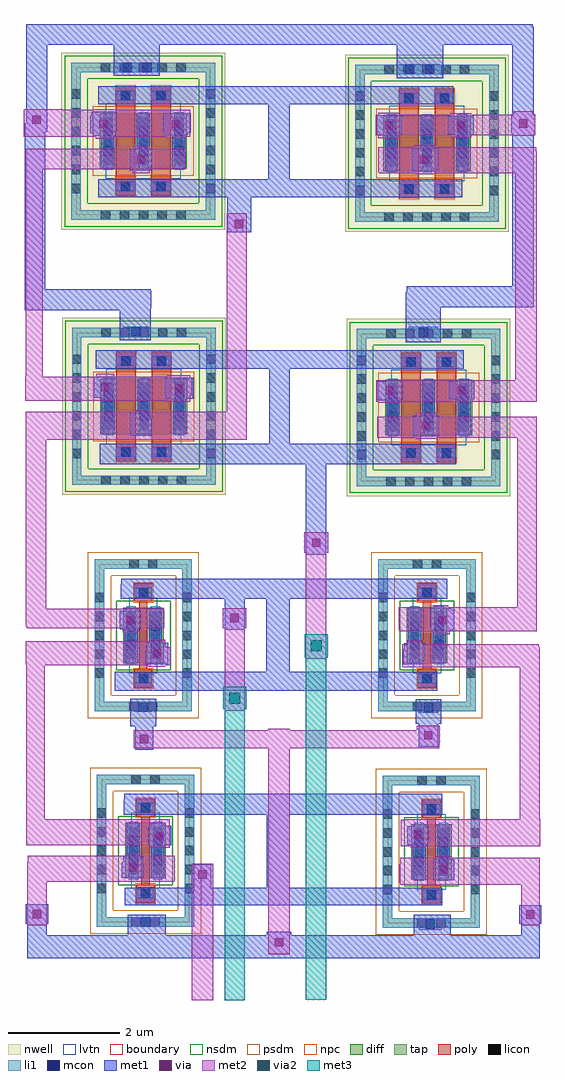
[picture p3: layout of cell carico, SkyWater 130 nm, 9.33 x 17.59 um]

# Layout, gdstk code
from math import pi, radians
import gdstk
lib = gdstk.Library(unit=1e-6, precision=1e-09)
def R(c, l, rs):  # rectangles x0, y0, x1, y1
    for r in rs: c.add(gdstk.rectangle(r[:2], r[2:], *l))
def A(c, l, x, y, w, h, nx, ny, dx, dy):  # array of equal rectangles
    R(c, l, [(x+i*dx, y+j*dy, x+i*dx+w, y+j*dy+h) for i in range(nx) for j in range(ny)])
nwell = (64, 20)
diff = (65, 20)
tap = (65, 44)
poly = (66, 20)
licon = (66, 44)
li1 = (67, 20)
mcon = (67, 44)
met1 = (68, 20)
via = (68, 44)
met2 = (69, 20)
via2 = (69, 44)
met3 = (70, 20)
nsdm = (93, 44)
psdm = (94, 20)
npc = (95, 20)
lvtn = (125, 44)
boundary = (235, 4)

sky130_fd_pr__nfet_01v8_ = lib.new_cell('sky130_fd_pr__nfet_01v8_lvt_648S5X')
R(sky130_fd_pr__nfet_01v8_, diff, [(-0.365,-0.5,0.365,0.5)])
R(sky130_fd_pr__nfet_01v8_, tap, [(-0.875,-1.37,0.875,-1.2), (-0.875,-1.2,-0.705,1.2), (0.705,-1.2,0.875,1.2), (-0.875,1.2,0.875,1.37)])
R(sky130_fd_pr__nfet_01v8_, poly, [(-0.165,-0.94,0.165,-0.61), (-0.075,-0.61,0.075,0.61), (-0.165,0.61,0.165,0.94)])
A(sky130_fd_pr__nfet_01v8_, licon, -0.875, -0.765, 0.17, 0.17, 1, 5, 0, 0.34)
A(sky130_fd_pr__nfet_01v8_, licon, 0.705, -0.765, 0.17, 0.17, 1, 5, 0, 0.34)
A(sky130_fd_pr__nfet_01v8_, licon, -0.305, -0.425, 0.17, 0.17, 1, 3, 0, 0.34)
A(sky130_fd_pr__nfet_01v8_, licon, 0.135, -0.425, 0.17, 0.17, 1, 3, 0, 0.34)
R(sky130_fd_pr__nfet_01v8_, licon, [(-0.255,-1.37,-0.085,-1.2), (0.085,-1.37,0.255,-1.2), (-0.085,-0.86,0.085,-0.69), (-0.085,0.69,0.085,0.86), (-0.255,1.2,-0.085,1.37), (0.085,1.2,0.255,1.37)])
R(sky130_fd_pr__nfet_01v8_, li1, [(-0.875,-1.37,0.875,-1.2), (-0.875,-1.2,-0.705,1.2), (0.705,-1.2,0.875,1.2), (-0.165,-0.86,0.165,-0.69), (-0.305,-0.52,-0.135,0.52), (0.135,-0.52,0.305,0.52), (-0.165,0.69,0.165,0.86), (-0.875,1.2,0.875,1.37)])
R(sky130_fd_pr__nfet_01v8_, mcon, [(-0.085,-0.86,0.085,-0.69), (-0.305,-0.265,-0.135,-0.095), (0.135,-0.265,0.305,-0.095), (-0.305,0.095,-0.135,0.265), (0.135,0.095,0.305,0.265), (-0.085,0.69,0.085,0.86)])
R(sky130_fd_pr__nfet_01v8_, met1, [(-0.145,-0.89,0.145,-0.66), (-0.335,-0.5,-0.105,0.5), (0.105,-0.5,0.335,0.5), (-0.145,0.66,0.145,0.89)])
R(sky130_fd_pr__nfet_01v8_, nsdm, [(-0.49,-0.625,0.49,0.625)])
R(sky130_fd_pr__nfet_01v8_, psdm, [(-1,-1.495,1,-1.075), (-1,-1.075,-0.58,1.075), (0.58,-1.075,1,1.075), (-1,1.075,1,1.495)])
R(sky130_fd_pr__nfet_01v8_, npc, [(-0.185,-0.96,0.185,-0.59), (-0.185,0.59,0.185,0.96)])
R(sky130_fd_pr__nfet_01v8_, lvtn, [(-0.255,-0.68,0.255,0.68)])
R(sky130_fd_pr__nfet_01v8_, boundary, [(-0.79,-1.285,0.79,1.285)])

sky130_fd_pr__pfet_01v8_ = lib.new_cell('sky130_fd_pr__pfet_01v8_lvt_4Q3NH3')
R(sky130_fd_pr__pfet_01v8_, nwell, [(-1.475,-1.595,1.475,1.595)])
R(sky130_fd_pr__pfet_01v8_, diff, [(-0.785,-0.5,0.785,0.5)])
R(sky130_fd_pr__pfet_01v8_, tap, [(-1.295,-1.415,1.295,-1.245), (-1.295,-1.245,-1.125,1.245), (1.125,-1.245,1.295,1.245), (-1.295,1.245,1.295,1.415)])
R(sky130_fd_pr__pfet_01v8_, poly, [(-0.495,-0.985,-0.145,0.985), (0.145,-0.985,0.495,0.985)])
A(sky130_fd_pr__pfet_01v8_, licon, -0.765, -1.415, 0.17, 0.17, 5, 2, 0.34, 2.66)
A(sky130_fd_pr__pfet_01v8_, licon, -1.295, -0.935, 0.17, 0.17, 1, 6, 0, 0.34)
A(sky130_fd_pr__pfet_01v8_, licon, 1.125, -0.935, 0.17, 0.17, 1, 6, 0, 0.34)
A(sky130_fd_pr__pfet_01v8_, licon, -0.725, -0.425, 0.17, 0.17, 3, 3, 0.64, 0.34)
R(sky130_fd_pr__pfet_01v8_, licon, [(-0.405,-0.905,-0.235,-0.735), (0.235,-0.905,0.405,-0.735), (-0.405,0.735,-0.235,0.905), (0.235,0.735,0.405,0.905)])
A(sky130_fd_pr__pfet_01v8_, li1, -0.725, -0.52, 0.17, 1.04, 3, 1, 0.64, 0)
R(sky130_fd_pr__pfet_01v8_, li1, [(-1.295,-1.415,1.295,-1.245), (-1.295,-1.245,-1.125,1.245), (1.125,-1.245,1.295,1.245), (-0.495,-0.905,-0.145,-0.735), (0.145,-0.905,0.495,-0.735), (-0.495,0.735,-0.145,0.905), (0.145,0.735,0.495,0.905), (-1.295,1.245,1.295,1.415)])
A(sky130_fd_pr__pfet_01v8_, mcon, -0.725, -0.265, 0.17, 0.17, 3, 2, 0.64, 0.36)
R(sky130_fd_pr__pfet_01v8_, mcon, [(-0.405,-0.905,-0.235,-0.735), (0.235,-0.905,0.405,-0.735), (-0.405,0.735,-0.235,0.905), (0.235,0.735,0.405,0.905)])
A(sky130_fd_pr__pfet_01v8_, met1, -0.755, -0.5, 0.23, 1, 3, 1, 0.64, 0)
R(sky130_fd_pr__pfet_01v8_, met1, [(-0.475,-0.935,-0.165,-0.705), (0.165,-0.935,0.475,-0.705), (-0.475,0.705,-0.165,0.935), (0.165,0.705,0.475,0.935)])
R(sky130_fd_pr__pfet_01v8_, nsdm, [(-1.42,-1.54,1.42,-1.12), (-1.42,-1.12,-1,1.12), (1,-1.12,1.42,1.12), (-1.42,1.12,1.42,1.54)])
R(sky130_fd_pr__pfet_01v8_, psdm, [(-0.91,-0.625,0.91,0.625)])
R(sky130_fd_pr__pfet_01v8_, npc, [(-0.505,-1.005,-0.135,-0.635), (0.135,-1.005,0.505,-0.635), (-0.505,0.635,-0.135,1.005), (0.135,0.635,0.505,1.005)])
R(sky130_fd_pr__pfet_01v8_, lvtn, [(-0.675,-0.68,0.675,0.68)])
R(sky130_fd_pr__pfet_01v8_, boundary, [(-1.21,-1.33,1.21,1.33)])

carico = lib.new_cell('carico')
R(carico, li1, [(11.57,-16.23,11.98,-16.03), (6.4,-16.18,6.89,-16.01), (11.56,-12.32,11.92,-12.14), (6.43,-12.31,6.77,-12.14), (11.39,-5.58,11.91,-5.37), (6.24,-5.55,6.71,-5.37), (11.22,-0.82,11.95,-0.64), (6.13,-0.78,6.86,-0.61)])
R(carico, mcon, [(11.69,-16.215,11.86,-16.045), (6.56,-16.18,6.73,-16.01), (11.655,-12.315,11.825,-12.145), (6.515,-12.31,6.685,-12.14), (11.565,-5.56,11.735,-5.39), (6.39,-5.545,6.56,-5.375), (11.32,-0.815,11.49,-0.645), (11.68,-0.815,11.85,-0.645), (6.23,-0.78,6.4,-0.61), (6.59,-0.78,6.76,-0.61)])
R(carico, met1, [(4.815,-16.75,13.465,-16.745), (4.515,-16.745,13.745,-16.335), (4.515,-16.335,4.865,-16.125), (6.32,-16.335,7.01,-15.96), (8.83,-16.335,9.27,-16.27), (11.48,-16.335,12.14,-15.96), (13.41,-16.335,13.745,-16.125), (4.485,-16.125,4.895,-15.775), (13.38,-16.125,13.775,-15.79), (6.27,-15.79,11.995,-15.48), (7.515,-15.48,7.825,-15.055), (8.83,-15.48,9.24,-14.16), (11.83,-15.34,12.21,-14.96), (6.22,-15.3,6.61,-15.02), (6.24,-15.02,6.6,-14.92), (6.69,-14.71,7.11,-14.37), (11.37,-14.71,11.73,-14.67), (11.36,-14.67,11.75,-14.37), (6.71,-14.37,7.1,-14.36), (6.25,-14.16,11.995,-13.89), (6.26,-13.89,11.99,-13.78), (6.46,-12.99,6.78,-12.57), (11.565,-12.935,11.915,-12.52), (6.37,-12.57,6.84,-12.07), (11.51,-12.52,11.97,-12.08), (6.09,-11.93,11.9,-11.59), (8.82,-11.59,9.24,-10.27), (6.64,-11.45,7.05,-11.15), (11.29,-11.45,11.66,-11.38), (11.29,-11.38,11.68,-11.18), (11.31,-11.18,11.68,-11.07), (6.66,-11.15,7.05,-11.06), (11.78,-10.86,12.18,-10.81), (8.07,-10.83,8.43,-10.27), (6.18,-10.82,6.56,-10.49), (11.78,-10.81,12.21,-10.78), (11.77,-10.78,12.21,-10.47), (11.77,-10.47,12.15,-10.44), (6.2,-10.27,12.085,-10), (6.21,-10,12.08,-9.91), (9.535,-9.475,9.905,-7.85), (5.82,-7.85,12.235,-7.48), (8.87,-7.48,9.24,-6.125), (11.46,-7.34,11.94,-6.97), (6.37,-7.33,6.76,-7.26), (6.36,-7.26,6.76,-7.03), (6.36,-7.03,6.73,-6.92), (10.81,-6.69,11.28,-6.35), (12.11,-6.68,12.57,-6.35), (6.99,-6.67,7.5,-6.29), (5.71,-6.65,6.13,-6.27), (5.745,-6.125,12.375,-5.79), (11.33,-5.65,11.96,-5.015), (6.18,-5.61,6.74,-5.07), (4.465,-5.07,6.74,-5.04), (4.465,-5.04,6.75,-4.72), (11.33,-5.015,13.635,-4.74), (11.355,-4.74,13.635,-4.64), (4.465,-4.72,6.735,-4.695), (4.465,-4.695,4.84,-1.855), (13.25,-4.64,13.635,-1.88), (8.12,-3.67,8.545,-3.04), (5.79,-3.04,12.355,-2.71), (8.86,-2.71,9.24,-1.36), (11.45,-2.57,11.89,-2.54), (6.36,-2.55,6.77,-2.16), (11.44,-2.54,11.93,-2.15), (5.7,-1.93,6.11,-1.88), (6.98,-1.92,7.4,-1.87), (10.79,-1.92,11.27,-1.56), (12.09,-1.91,12.56,-1.57), (5.65,-1.88,6.11,-1.84), (13.23,-1.88,13.67,-1.54), (6.96,-1.87,7.46,-1.52), (4.465,-1.855,4.87,-1.705), (5.65,-1.84,6.13,-1.57), (4.495,-1.705,4.87,-0.29), (5.68,-1.57,6.13,-1.5), (13.25,-1.54,13.635,-0.29), (5.79,-1.36,12.19,-1.04), (11.17,-0.89,12.01,-0.29), (6.07,-0.85,6.9,-0.29), (4.495,-0.29,13.635,0.035), (4.495,0.035,13.625,0.085)])
R(carico, via, [(8.975,-16.535,9.125,-16.385), (13.5,-16.035,13.65,-15.885), (4.615,-16.025,4.765,-15.875), (7.595,-15.315,7.745,-15.165), (11.945,-15.225,12.095,-15.075), (6.345,-15.185,6.495,-15.035), (6.825,-14.615,6.975,-14.465), (11.48,-14.595,11.63,-14.445), (6.545,-12.875,6.695,-12.725), (11.665,-12.805,11.815,-12.655), (6.78,-11.33,6.93,-11.18), (6.295,-10.73,6.445,-10.58), (11.915,-10.725,12.065,-10.575), (8.175,-10.695,8.325,-10.545), (9.645,-9.335,9.795,-9.185), (11.625,-7.23,11.775,-7.08), (10.97,-6.595,11.12,-6.445), (12.265,-6.59,12.415,-6.44), (7.17,-6.555,7.32,-6.405), (5.845,-6.535,5.995,-6.385), (8.255,-3.595,8.405,-3.445), (11.595,-2.435,11.745,-2.285), (6.49,-2.43,6.64,-2.28), (10.955,-1.815,11.105,-1.665), (12.25,-1.815,12.4,-1.665), (7.115,-1.795,7.265,-1.645), (5.815,-1.79,5.965,-1.64), (13.375,-1.785,13.525,-1.635), (4.605,-1.715,4.755,-1.565)])
R(carico, met2, [(7.48,-17.5,7.865,-15.045), (8.86,-16.68,9.24,-12.96), (4.515,-16.155,4.865,-15.365), (13.41,-16.155,13.745,-15.42), (11.23,-15.42,13.75,-15.39), (11.225,-15.39,13.75,-15.055), (4.515,-15.365,7.165,-15.35), (4.515,-15.35,7.17,-15.015), (11.23,-15.055,13.75,-14.94), (4.52,-15.015,7.17,-14.9), (11.88,-14.94,12.16,-14.91), (6.29,-14.9,6.55,-14.87), (6.74,-14.76,7.08,-14.71), (11.42,-14.76,11.68,-14.73), (11.24,-14.73,13.76,-14.25), (4.5,-14.71,7.08,-14.32), (4.495,-14.32,7.08,-14.24), (11.335,-14.25,13.755,-14.245), (13.39,-14.245,13.75,-11.505), (4.495,-14.24,4.825,-11.47), (6.43,-12.96,11.94,-12.905), (6.43,-12.905,11.945,-12.64), (8.86,-12.64,9.24,-12.61), (11.535,-12.64,11.945,-12.555), (8.07,-12.285,8.43,-10.8), (11.29,-11.505,13.75,-11.5), (6.69,-11.5,7,-11.47), (11.27,-11.5,13.75,-11.145), (4.495,-11.47,7.09,-11.45), (4.49,-11.45,7.09,-11.14), (9.535,-11.35,9.905,-9.445), (11.27,-11.145,13.73,-11.09), (4.49,-11.14,7,-11.04), (11.36,-11.09,11.63,-11.02), (6.71,-11.04,7,-11.01), (11.83,-10.91,12.13,-10.86), (6.23,-10.87,6.51,-10.805), (11.22,-10.86,13.69,-10.83), (11.21,-10.83,13.69,-10.785), (4.505,-10.805,6.985,-10.77), (8.04,-10.8,8.46,-10.44), (11.21,-10.785,13.695,-10.42), (4.49,-10.77,6.985,-10.45), (4.49,-10.45,4.86,-7.41), (6.23,-10.45,6.51,-10.44), (11.82,-10.42,12.1,-10.39), (13.34,-10.42,13.695,-7.37), (9.505,-9.445,9.935,-9.075), (4.49,-7.41,8.465,-7.33), (11.51,-7.39,11.89,-7.37), (10.82,-7.37,13.695,-7.015), (4.49,-7.33,8.47,-6.9), (10.82,-7.015,13.69,-6.99), (11.51,-6.99,11.89,-6.92), (6.41,-6.9,6.68,-6.87), (8.11,-6.9,8.47,-3.35), (10.86,-6.74,11.23,-6.725), (12.16,-6.73,12.52,-6.725), (10.805,-6.725,13.695,-6.335), (7.04,-6.72,7.45,-6.7), (4.48,-6.7,7.45,-6.605), (4.48,-6.605,7.475,-6.295), (13.305,-6.335,13.695,-2.6), (4.48,-6.295,7.45,-6.27), (4.485,-6.27,4.795,-2.53), (5.76,-6.27,6.08,-6.22), (7.04,-6.27,7.45,-6.24), (8.11,-3.35,8.465,-3.325), (11.5,-2.62,11.84,-2.6), (6.41,-2.6,6.72,-2.53), (10.85,-2.6,13.695,-2.58), (10.84,-2.58,13.695,-2.21), (4.485,-2.53,7.37,-2.22), (4.49,-2.22,7.36,-2.16), (10.84,-2.21,13.68,-2.14), (6.41,-2.16,6.72,-2.11), (11.49,-2.14,11.88,-2.1), (5.75,-1.98,6.06,-1.95), (7.03,-1.97,7.35,-1.95), (10.84,-1.97,11.22,-1.92), (12.14,-1.96,12.51,-1.92), (4.45,-1.95,7.45,-1.46), (13.28,-1.93,13.62,-1.92), (10.81,-1.92,13.67,-1.55), (10.84,-1.55,11.22,-1.51), (12.14,-1.55,12.51,-1.52), (13.28,-1.55,13.62,-1.49), (4.465,-1.46,5.155,-1.45), (5.73,-1.46,6.08,-1.45)])
R(carico, via2, [(8.15,-12.16,8.35,-11.96), (9.62,-11.22,9.82,-11.02)])
R(carico, met3, [(8.07,-17.5,8.43,-12.265), (9.535,-17.495,9.905,-11.33), (8.045,-12.265,8.455,-11.855), (9.51,-11.33,9.93,-10.91)])
carico.add(gdstk.Reference(sky130_fd_pr__nfet_01v8_, (11.795,-14.83)))
carico.add(gdstk.Reference(sky130_fd_pr__nfet_01v8_, (6.645,-14.81)))
carico.add(gdstk.Reference(sky130_fd_pr__nfet_01v8_, (11.715,-10.93)))
carico.add(gdstk.Reference(sky130_fd_pr__nfet_01v8_, (6.605,-10.93)))
carico.add(gdstk.Reference(sky130_fd_pr__pfet_01v8_, (11.745,-6.825)))
carico.add(gdstk.Reference(sky130_fd_pr__pfet_01v8_, (6.605,-2.025)))
carico.add(gdstk.Reference(sky130_fd_pr__pfet_01v8_, (11.715,-2.065)))
carico.add(gdstk.Reference(sky130_fd_pr__pfet_01v8_, (6.615,-6.805), rotation=pi, x_reflection=True))

lib.write_gds('carico.gds')
